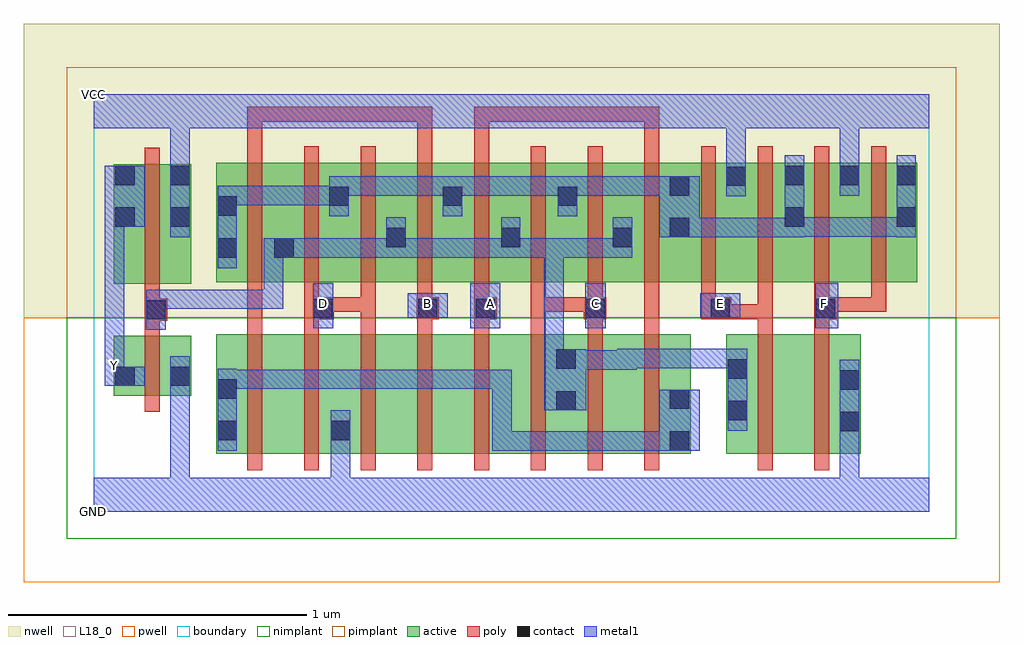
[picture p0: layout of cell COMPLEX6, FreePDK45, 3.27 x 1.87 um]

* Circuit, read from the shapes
.subckt COMPLEX6 A B C D E F GND VCC Y
M1 GND n1 Y VSUBS nfet w=0.2u l=0.05u
M2 n2 B n3 VSUBS nfet w=0.4u l=0.05u
M3 GND D n2 VSUBS nfet w=0.4u l=0.05u
M4 n4 D GND VSUBS nfet w=0.4u l=0.05u
M5 n5 B n4 VSUBS nfet w=0.4u l=0.05u
M6 n6 A n5 VSUBS nfet w=0.4u l=0.05u
M7 n1 C n6 VSUBS nfet w=0.4u l=0.05u
M8 n7 C n1 VSUBS nfet w=0.4u l=0.05u
M9 n3 A n7 VSUBS nfet w=0.4u l=0.05u
M10 n8 E n1 VSUBS nfet w=0.4u l=0.05u
M11 GND F n8 VSUBS nfet w=0.4u l=0.05u
M12 VCC n1 Y n9 pfet w=0.4u l=0.05u
M13 n1 B n10 n9 pfet w=0.4u l=0.05u m=2
M14 n10 D n1 n9 pfet w=0.4u l=0.05u m=2
M15 n1 A n10 n9 pfet w=0.4u l=0.05u m=2
M16 n10 C n1 n9 pfet w=0.4u l=0.05u m=2
M17 VCC E n10 n9 pfet w=0.4u l=0.05u m=2
M18 VCC F n10 n9 pfet w=0.4u l=0.05u m=2
.ends

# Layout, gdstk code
import gdstk
lib = gdstk.Library(unit=1e-6, precision=1e-09)
def R(c, l, rs):  # rectangles x0, y0, x1, y1
    for r in rs: c.add(gdstk.rectangle(r[:2], r[2:], *l))
def A(c, l, x, y, w, h, nx, ny, dx, dy):  # array of equal rectangles
    R(c, l, [(x+i*dx, y+j*dy, x+i*dx+w, y+j*dy+h) for i in range(nx) for j in range(ny)])
active = (1, 0)
pwell = (2, 0)
nwell = (3, 0)
nimplant = (4, 0)
pimplant = (5, 0)
poly = (9, 0)
contact = (10, 0)
metal1 = (11, 0)
L18_0 = (18, 0)
boundary = (235, 0)

complex6 = lib.new_cell('COMPLEX6')
R(complex6, active, [(0.41,0.195,0.635,0.595), (0.41,0.195,0.515,0.595), (0.635,0.195,0.865,0.595), (0.79,0.195,1.015,0.595), (0.79,0.195,0.865,0.492), (1.015,0.195,1.205,0.595), (1.205,0.195,1.395,0.595), (1.395,0.195,1.62,0.595), (1.545,0.195,1.62,0.595), (1.545,0.195,1.775,0.595), (1.775,0.195,2,0.595), (1.925,0.195,2,0.595), (2.12,0.195,2.345,0.595), (2.12,0.195,2.225,0.595), (2.345,0.195,2.57,0.595), (2.495,0.195,2.57,0.595), (0.067,0.39,0.327,0.59), (0.067,0.395,0.142,0.59), (0.252,0.395,0.327,0.59), (0.067,0.765,0.142,1.165), (0.067,0.765,0.327,1.165), (0.252,0.765,0.327,1.165), (0.41,0.77,0.675,1.17), (0.41,0.77,0.485,1.105), (0.6,0.77,0.86,1.17), (0.785,0.77,1.05,1.17), (0.975,0.77,1.24,1.17), (1.165,0.77,1.435,1.17), (1.36,0.77,1.625,1.17), (1.55,0.77,1.81,1.17), (1.735,0.77,2,1.17), (1.925,0.77,2.19,1.17), (2.115,0.77,2.385,1.17), (2.31,0.77,2.57,1.17), (2.495,0.77,2.76,1.17), (2.685,0.77,2.76,1.17), (0.785,0.782,0.86,1.105), (0.975,0.782,1.05,1.07), (1.36,0.782,1.435,1.07), (1.55,0.782,1.625,1.105), (2.115,0.782,2.19,1.162), (0.6,0.785,0.675,1.07), (1.735,0.79,1.81,1.07), (1.925,0.8,2,1.13), (1.165,0.802,1.24,1.105), (2.31,0.802,2.385,1.17), (2.495,0.802,2.57,1.17)])
R(complex6, pwell, [(-0.235,-0.235,3.035,0.65)])
R(complex6, nwell, [(-0.235,0.65,3.035,1.635)])
R(complex6, nimplant, [(-0.09,-0.09,2.89,0.65)])
R(complex6, pimplant, [(-0.09,0.65,2.89,1.49)])
A(complex6, poly, 0.515, 0.14, 0.05, 0.51, 8, 1, 0.19, 0)
A(complex6, poly, 0.705, 0.67, 0.05, 0.095, 6, 1, 0.19, 0)
A(complex6, poly, 0.515, 0.715, 0.05, 0.51, 12, 1, 0.19, 0)
R(complex6, poly, [(2.225,0.14,2.275,0.65), (2.415,0.14,2.465,0.65), (0.172,0.335,0.222,0.645), (0.172,0.595,0.222,0.69), (0.515,0.6,0.565,0.695), (0.705,0.6,0.755,0.695), (0.895,0.6,0.945,0.72), (1.085,0.6,1.135,0.695), (1.275,0.6,1.325,0.695), (1.465,0.6,1.515,0.72), (1.655,0.6,1.705,0.695), (1.845,0.6,1.895,0.695), (2.225,0.6,2.275,0.695), (2.415,0.6,2.465,0.695), (0.172,0.64,0.247,0.715), (0.515,0.645,0.565,0.695), (0.515,0.645,0.565,0.765), (0.705,0.645,0.805,0.72), (1.082,0.645,1.157,0.72), (1.275,0.645,1.35,0.72), (1.642,0.645,1.717,0.72), (1.845,0.645,1.895,0.695), (1.845,0.645,1.895,0.765), (2.035,0.645,2.137,0.72), (2.087,0.645,2.275,0.695), (2.225,0.645,2.275,0.695), (2.225,0.645,2.275,0.695), (2.225,0.645,2.275,0.695), (2.225,0.645,2.275,0.765), (2.415,0.645,2.49,0.72), (0.172,0.665,0.222,0.76), (0.755,0.67,0.945,0.72), (0.895,0.67,0.945,0.72), (0.895,0.67,0.945,0.72), (0.895,0.67,0.945,0.72), (1.465,0.67,1.515,0.72), (1.465,0.67,1.515,0.72), (1.465,0.67,1.515,0.72), (1.465,0.67,1.692,0.72), (2.035,0.67,2.085,0.765), (2.415,0.67,2.465,0.765), (2.44,0.67,2.655,0.72), (2.44,0.67,2.49,0.72), (2.44,0.67,2.49,0.72), (2.605,0.67,2.655,0.765), (2.605,0.67,2.655,0.72), (0.172,0.71,0.222,1.22), (0.515,1.175,0.565,1.357), (1.085,1.175,1.135,1.357), (1.275,1.175,1.325,1.357), (1.845,1.175,1.895,1.357), (0.515,1.307,0.565,1.357), (0.515,1.307,0.812,1.357), (0.762,1.307,0.812,1.357), (0.762,1.307,0.812,1.357), (0.762,1.307,0.812,1.357), (0.762,1.307,0.945,1.357), (0.895,1.307,0.945,1.357), (0.895,1.307,0.945,1.357), (0.895,1.307,0.945,1.357), (0.895,1.307,1.135,1.357), (1.085,1.307,1.135,1.357), (1.085,1.307,1.135,1.357), (1.085,1.307,1.135,1.357), (1.275,1.307,1.325,1.357), (1.275,1.307,1.325,1.357), (1.275,1.307,1.325,1.357), (1.275,1.307,1.482,1.357), (1.432,1.307,1.647,1.357), (1.432,1.307,1.482,1.357), (1.432,1.307,1.482,1.357), (1.432,1.307,1.482,1.357), (1.597,1.307,1.647,1.357), (1.597,1.307,1.895,1.357), (1.845,1.307,1.895,1.357), (1.845,1.307,1.895,1.357), (1.845,1.307,1.895,1.357)])
R(complex6, contact, [(1.93,0.205,1.995,0.27), (0.415,0.24,0.48,0.305), (0.795,0.24,0.86,0.305), (2.5,0.27,2.565,0.335), (2.125,0.307,2.19,0.372), (1.55,0.34,1.615,0.405), (1.93,0.345,1.995,0.41), (0.415,0.38,0.48,0.445), (2.5,0.41,2.565,0.475), (0.072,0.422,0.137,0.487), (0.257,0.422,0.322,0.487), (2.125,0.447,2.19,0.512), (1.55,0.48,1.615,0.545), (0.177,0.645,0.242,0.71), (0.735,0.65,0.8,0.715), (1.087,0.65,1.152,0.715), (1.28,0.65,1.345,0.715), (1.647,0.65,1.712,0.715), (2.067,0.65,2.132,0.715), (2.42,0.65,2.485,0.715), (0.415,0.852,0.48,0.917), (0.605,0.852,0.67,0.917), (0.98,0.887,1.045,0.952), (1.365,0.887,1.43,0.952), (1.74,0.887,1.805,0.952), (1.93,0.92,1.995,0.985), (0.072,0.955,0.137,1.02), (0.257,0.955,0.322,1.02), (2.315,0.955,2.38,1.02), (2.69,0.955,2.755,1.02), (0.415,0.992,0.48,1.057), (0.79,1.025,0.855,1.09), (1.17,1.025,1.235,1.09), (1.555,1.025,1.62,1.09), (1.93,1.06,1.995,1.125), (2.12,1.092,2.185,1.157), (0.072,1.095,0.137,1.16), (0.257,1.095,0.322,1.16), (2.315,1.095,2.38,1.16), (2.5,1.095,2.565,1.16), (2.69,1.095,2.755,1.16)])
R(complex6, metal1, [(0,0,2.8,0.115), (0.257,0.05,0.322,0.115), (0.257,0.05,0.322,0.115), (0.257,0.05,0.322,0.115), (0.257,0.05,0.322,0.115), (0.257,0.05,0.322,0.452), (0.795,0.05,0.86,0.27), (2.5,0.05,2.565,0.3), (0.415,0.205,0.48,0.48), (0.795,0.205,0.86,0.34), (1.335,0.205,1.4,0.27), (1.335,0.205,1.4,0.27), (1.335,0.205,1.4,0.27), (1.335,0.205,1.567,0.27), (1.335,0.205,1.4,0.477), (1.502,0.205,1.567,0.27), (1.502,0.205,1.787,0.27), (1.722,0.205,1.787,0.27), (1.722,0.205,1.787,0.27), (1.722,0.205,1.787,0.27), (1.722,0.205,1.96,0.27), (1.895,0.205,1.96,0.27), (1.895,0.205,1.96,0.27), (1.895,0.205,2.03,0.41), (2.5,0.235,2.565,0.51), (2.125,0.272,2.19,0.547), (1.51,0.34,1.65,0.545), (0.257,0.387,0.322,0.522), (0.415,0.412,0.48,0.477), (0.415,0.412,0.48,0.477), (0.415,0.412,0.717,0.477), (0.652,0.412,0.717,0.477), (0.652,0.412,0.717,0.477), (0.652,0.412,0.717,0.477), (0.652,0.412,0.907,0.477), (0.842,0.412,0.907,0.477), (0.842,0.412,0.907,0.477), (0.842,0.412,0.907,0.477), (0.842,0.412,1.097,0.477), (1.032,0.412,1.097,0.477), (1.032,0.412,1.097,0.477), (1.032,0.412,1.097,0.477), (1.032,0.412,1.262,0.477), (1.197,0.412,1.262,0.477), (1.197,0.412,1.262,0.477), (1.197,0.412,1.262,0.477), (1.197,0.412,1.4,0.477), (1.335,0.412,1.4,0.477), (0.037,0.422,0.102,0.487), (0.037,0.422,0.102,0.557), (0.037,0.422,0.172,0.487), (1.585,0.477,1.82,0.542), (1.755,0.477,1.82,0.542), (1.755,0.477,1.82,0.542), (1.755,0.477,1.82,0.547), (1.51,0.48,1.575,0.917), (1.755,0.482,1.96,0.547), (1.895,0.482,1.96,0.547), (1.895,0.482,1.96,0.547), (1.895,0.482,1.96,0.547), (1.895,0.482,2.19,0.547), (2.125,0.482,2.19,0.547), (2.125,0.482,2.19,0.547), (0.037,0.492,0.102,1.02), (0.177,0.61,0.242,0.745), (0.735,0.615,0.802,0.767), (1.262,0.615,1.362,0.767), (1.647,0.615,1.715,0.767), (2.417,0.615,2.495,0.767), (1.052,0.65,1.187,0.732), (2.032,0.65,2.167,0.732), (0.177,0.68,0.242,0.745), (0.177,0.68,0.242,0.745), (0.177,0.68,0.46,0.745), (0.395,0.68,0.46,0.745), (0.395,0.68,0.46,0.745), (0.395,0.68,0.46,0.745), (0.395,0.68,0.635,0.745), (0.57,0.68,0.635,0.745), (0.57,0.68,0.635,0.917), (0.415,0.817,0.48,1.092), (0.57,0.852,0.705,0.917), (0.64,0.852,0.705,0.917), (0.64,0.852,0.705,0.917), (0.64,0.852,0.907,0.917), (0.842,0.852,0.907,0.917), (0.842,0.852,0.907,0.917), (0.842,0.852,0.907,0.917), (0.842,0.852,1.045,0.917), (0.98,0.852,1.045,0.917), (0.98,0.852,1.045,0.917), (0.98,0.852,1.045,0.987), (0.98,0.852,1.262,0.917), (1.197,0.852,1.262,0.917), (1.197,0.852,1.262,0.917), (1.197,0.852,1.262,0.917), (1.197,0.852,1.43,0.917), (1.365,0.852,1.43,0.917), (1.365,0.852,1.43,0.917), (1.365,0.852,1.43,0.987), (1.365,0.852,1.575,0.917), (1.51,0.852,1.575,0.917), (1.51,0.852,1.575,0.917), (1.51,0.852,1.575,0.917), (1.51,0.852,1.575,0.917), (1.51,0.852,1.575,0.917), (1.51,0.852,1.805,0.917), (1.74,0.852,1.805,0.987), (0.257,0.92,0.322,1.195), (1.895,0.92,2.03,1.125), (1.965,0.92,2.03,0.985), (1.965,0.92,2.03,0.985), (1.965,0.92,2.167,0.985), (2.102,0.92,2.167,0.985), (2.102,0.92,2.167,0.985), (2.102,0.92,2.167,0.985), (2.102,0.92,2.327,0.985), (2.262,0.92,2.327,0.985), (2.262,0.92,2.38,0.985), (2.315,0.92,2.38,1.195), (2.69,0.92,2.755,1.195), (2.315,0.922,2.517,0.987), (2.452,0.922,2.517,0.987), (2.452,0.922,2.517,0.987), (2.452,0.922,2.517,0.987), (2.452,0.922,2.755,0.987), (2.69,0.922,2.755,0.987), (2.69,0.922,2.755,0.987), (0.037,0.955,0.172,1.16), (0.79,0.99,0.855,1.125), (1.17,0.99,1.235,1.125), (1.555,0.99,1.62,1.125), (0.415,1.027,0.48,1.092), (0.415,1.027,0.48,1.092), (0.415,1.027,0.642,1.092), (0.577,1.027,0.642,1.092), (0.577,1.027,0.642,1.092), (0.577,1.027,0.642,1.092), (0.577,1.027,0.855,1.092), (2.12,1.057,2.185,1.192), (0.79,1.06,0.855,1.125), (0.79,1.06,0.855,1.125), (0.79,1.06,1.097,1.125), (1.032,1.06,1.097,1.125), (1.032,1.06,1.097,1.125), (1.032,1.06,1.097,1.125), (1.032,1.06,1.235,1.125), (1.17,1.06,1.235,1.125), (1.17,1.06,1.235,1.125), (1.17,1.06,1.4,1.125), (1.335,1.06,1.4,1.125), (1.335,1.06,1.4,1.125), (1.335,1.06,1.4,1.125), (1.335,1.06,1.62,1.125), (1.555,1.06,1.62,1.125), (1.555,1.06,1.62,1.125), (1.555,1.06,1.787,1.125), (1.722,1.06,1.787,1.125), (1.722,1.06,1.96,1.125), (1.895,1.06,1.96,1.125), (1.895,1.06,1.96,1.125), (2.5,1.06,2.565,1.195), (2.12,1.127,2.185,1.192), (2.12,1.127,2.185,1.192), (2.12,1.127,2.185,1.35), (0.257,1.13,0.322,1.35), (2.5,1.13,2.565,1.195), (2.5,1.13,2.565,1.195), (2.5,1.13,2.565,1.35), (0,1.285,2.8,1.4), (0.257,1.285,0.322,1.35), (0.257,1.285,0.322,1.35)])
R(complex6, L18_0, [(0,0,2.8,0.115), (0.257,0.05,0.322,0.115), (0.257,0.05,0.322,0.115), (0.257,0.05,0.322,0.115), (0.257,0.05,0.322,0.115), (0.257,0.05,0.322,0.452), (0.795,0.05,0.86,0.27), (2.5,0.05,2.565,0.3), (0.795,0.205,0.86,0.34), (2.5,0.235,2.565,0.51), (0.257,0.387,0.322,0.522), (0.037,0.422,0.172,0.487), (0.037,0.422,0.102,0.557), (0.037,0.422,0.102,0.487), (0.037,0.457,0.102,0.522), (0.037,0.492,0.102,1.02), (0.735,0.615,0.802,0.767), (1.262,0.615,1.362,0.767), (1.647,0.615,1.715,0.767), (2.417,0.615,2.495,0.767), (1.052,0.65,1.187,0.732), (2.032,0.65,2.167,0.732), (0.737,0.667,0.802,0.732), (1.087,0.667,1.152,0.732), (1.297,0.667,1.362,0.732), (1.647,0.667,1.712,0.732), (2.067,0.667,2.132,0.732), (2.417,0.667,2.482,0.732), (0.257,0.92,0.322,1.195), (0.037,0.955,0.172,1.16), (2.12,1.057,2.185,1.192), (2.5,1.06,2.565,1.195), (2.12,1.127,2.185,1.192), (2.12,1.127,2.185,1.192), (2.12,1.127,2.185,1.35), (0.257,1.13,0.322,1.35), (2.5,1.13,2.565,1.195), (2.5,1.13,2.565,1.195), (2.5,1.13,2.565,1.35), (0,1.285,2.8,1.4), (0.257,1.285,0.322,1.35), (0.257,1.285,0.322,1.35)])
R(complex6, boundary, [(0,0,2.8,1.4)])
complex6.add(gdstk.Label('A', (1.33,0.7), layer=11, texttype=0))
complex6.add(gdstk.Label('B', (1.12,0.7), layer=11, texttype=0))
complex6.add(gdstk.Label('C', (1.68,0.7), layer=11, texttype=0))
complex6.add(gdstk.Label('D', (0.77,0.7), layer=11, texttype=0))
complex6.add(gdstk.Label('E', (2.1,0.7), layer=11, texttype=0))
complex6.add(gdstk.Label('F', (2.45,0.7), layer=11, texttype=0))
complex6.add(gdstk.Label('Y', (0.07,0.49), layer=11, texttype=0))
complex6.add(gdstk.Label('VCC', (0,1.4), layer=11, texttype=0))
complex6.add(gdstk.Label('GND', (0,0), layer=11, texttype=0))

lib.write_gds('COMPLEX6.gds')
